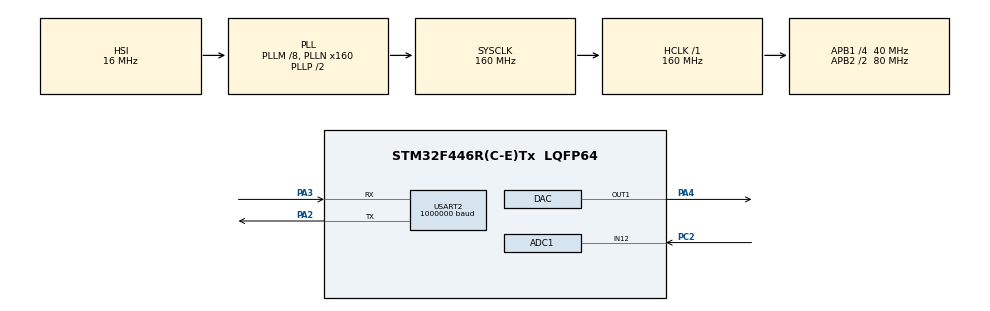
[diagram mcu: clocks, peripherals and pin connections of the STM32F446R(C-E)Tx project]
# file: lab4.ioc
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ADC1.Channel-0\#ChannelRegularConversion=ADC_CHANNEL_12
ADC1.NbrOfConversionFlag=1
ADC1.Rank-0\#ChannelRegularConversion=1
ADC1.SamplingTime-0\#ChannelRegularConversion=ADC_SAMPLETIME_3CYCLES
ADC1.master=1
Dma.ADC1.0.Direction=DMA_PERIPH_TO_MEMORY
Dma.ADC1.0.FIFOMode=DMA_FIFOMODE_DISABLE
Dma.ADC1.0.Instance=DMA2_Stream0
Dma.ADC1.0.MemDataAlignment=DMA_MDATAALIGN_HALFWORD
Dma.ADC1.0.MemInc=DMA_MINC_ENABLE
Dma.ADC1.0.Mode=DMA_NORMAL
Dma.ADC1.0.PeriphDataAlignment=DMA_PDATAALIGN_HALFWORD
Dma.ADC1.0.PeriphInc=DMA_PINC_DISABLE
Dma.ADC1.0.Priority=DMA_PRIORITY_LOW
Dma.Request0=ADC1
Mcu.Family=STM32F4
Mcu.Name=STM32F446R(C-E)Tx
Mcu.Package=LQFP64
NVIC.DMA2_Stream0_IRQn=true\:0\:0\:false\:false\:true\:false\:true\:true
NVIC.PriorityGroup=NVIC_PRIORITYGROUP_4
NVIC.TIM6_DAC_IRQn=true\:0\:0\:false\:false\:true\:true\:true\:true
NVIC.USART2_IRQn=true\:0\:0\:false\:false\:true\:true\:true\:true
PA2.Mode=Asynchronous
PA2.Signal=USART2_TX
PA3.Mode=Asynchronous
PA3.Signal=USART2_RX
PA4.Signal=COMP_DAC1_group
PC2.Signal=ADCx_IN12
PH0-OSC_IN.Mode=HSE-External-Oscillator
PH0-OSC_IN.Signal=RCC_OSC_IN
PH1-OSC_OUT.Mode=HSE-External-Oscillator
PH1-OSC_OUT.Signal=RCC_OSC_OUT
ProjectManager.HeapSize=0x200
ProjectManager.StackSize=0x400
ProjectManager.TargetToolchain=STM32CubeIDE
RCC.AHBFreq_Value=160000000
RCC.APB1CLKDivider=RCC_HCLK_DIV4
RCC.APB1Freq_Value=40000000
RCC.APB1TimFreq_Value=80000000
RCC.APB2CLKDivider=RCC_HCLK_DIV2
RCC.APB2Freq_Value=80000000
RCC.APB2TimFreq_Value=160000000
RCC.CortexFreq_Value=160000000
RCC.HCLKFreq_Value=160000000
RCC.HSE_VALUE=7200000
RCC.PLLM=8
RCC.PLLN=160
RCC.SYSCLKFreq_VALUE=160000000
RCC.SYSCLKSource=RCC_SYSCLKSOURCE_PLLCLK
RCC.USBFreq_Value=160000000
RCC.VCOOutputFreq_Value=320000000
SH.ADCx_IN12.0=ADC1_IN12,IN12
SH.COMP_DAC1_group.0=DAC_OUT1,DAC_OUT1
TIM6.Period=399
TIM6.Prescaler=199
USART2.BaudRate=1000000
USART2.VirtualMode=VM_ASYNC
VP_TIM6_VS_ClockSourceINT.Mode=Enable_Timer
board=custom

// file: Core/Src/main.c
/* USER CODE BEGIN Header */
/* USER CODE END Header */
#include "main.h"

/* USER CODE BEGIN Includes */
#include <math.h> // Подключение math.h для использования sinf
/* USER CODE END Includes */

/* USER CODE BEGIN PD */
#define ADC_BUFFER_SIZE 1
#define DAC_RESOLUTION 4096
#define V_REF 3300 // mV
#define SIN_FREQ 20 // Частота синусоиды в Гц
#define SIN_AMPLITUDE 1000 // Амплитуда в мВ
#define SIN_OFFSET 1650 // Смещение в мВ
/* USER CODE END PD */

ADC_HandleTypeDef hadc1;
DMA_HandleTypeDef hdma_adc1;
DAC_HandleTypeDef hdac;
TIM_HandleTypeDef htim6;
UART_HandleTypeDef huart2;

/* USER CODE BEGIN PV */
volatile uint32_t t = 0; // Счетчик времени в миллисекундах
uint32_t adc_buffer[ADC_BUFFER_SIZE];
/* USER CODE END PV */

/* USER CODE BEGIN 0 */
void generate_sine_wave() {
    // Генерация синусоиды с заданной амплитудой и частотой
    float angle = 2.0f * 3.14159f * SIN_FREQ * t / 1000.0f; // Частота 20 Гц, время t в миллисекундах
    float sine_value_mv = SIN_OFFSET + SIN_AMPLITUDE * sinf(angle); // Значение синусоиды в мВ

    // Преобразование в значение для DAC (12-битное разрешение)
    uint32_t dac_value = (uint32_t)((sine_value_mv * DAC_RESOLUTION) / V_REF);

    // Установка значения на DAC
    HAL_DAC_SetValue(&hdac, DAC_CHANNEL_1, DAC_ALIGN_12B_R, dac_value);
}

/* Обработка прерывания таймера */
void HAL_TIM_PeriodElapsedCallback(TIM_HandleTypeDef *htim) {
    if (htim->Instance == TIM6) {
        t++; // Увеличиваем счетчик времени в миллисекундах
        generate_sine_wave();

        // Старт ADC и получение данных через DMA
        HAL_ADC_Start_DMA(&hadc1, adc_buffer, ADC_BUFFER_SIZE);

        // Передача данных
        transmit_data();
    }
}

void transmit_data() {
    // Преобразование значения ADC в мВ
    uint16_t adc_value_mv = (adc_buffer[0] * V_REF) / DAC_RESOLUTION;

    // Формирование пакета данных для передачи
    uint8_t data[3];
    data[0] = (adc_value_mv >> 8) & 0xFF; // старший байт
    data[1] = adc_value_mv & 0xFF;        // младший байт
    data[2] = 0xBB; // Конец пакета

    // Передача данных по UART
    HAL_UART_Transmit(&huart2, data, 3, HAL_MAX_DELAY);
}
/* USER CODE END 0 */

int main(void) {
    HAL_Init();
    SystemClock_Config();
    MX_GPIO_Init();
    MX_DMA_Init();
    MX_ADC1_Init();
    MX_DAC_Init();
    MX_TIM6_Init();
    MX_USART2_UART_Init();

    /* Запуск DAC и таймера с прерываниями */
    HAL_DAC_Start(&hdac, DAC_CHANNEL_1);
    HAL_TIM_Base_Start_IT(&htim6);

    /* Бесконечный цикл */
    while (1) {
    }
}

void SystemClock_Config(void)
{
  RCC_OscInitTypeDef RCC_OscInitStruct = {0};
  RCC_ClkInitTypeDef RCC_ClkInitStruct = {0};

  /** Configure the main internal regulator output voltage
  */
  __HAL_RCC_PWR_CLK_ENABLE();
  __HAL_PWR_VOLTAGESCALING_CONFIG(PWR_REGULATOR_VOLTAGE_SCALE1);

  /** Initializes the RCC Oscillators according to the specified parameters
  * in the RCC_OscInitTypeDef structure.
  */
  RCC_OscInitStruct.OscillatorType = RCC_OSCILLATORTYPE_HSI;
  RCC_OscInitStruct.HSIState = RCC_HSI_ON;
  RCC_OscInitStruct.HSICalibrationValue = RCC_HSICALIBRATION_DEFAULT;
  RCC_OscInitStruct.PLL.PLLState = RCC_PLL_ON;
  RCC_OscInitStruct.PLL.PLLSource = RCC_PLLSOURCE_HSI;
  RCC_OscInitStruct.PLL.PLLM = 8;
  RCC_OscInitStruct.PLL.PLLN = 160;
  RCC_OscInitStruct.PLL.PLLP = RCC_PLLP_DIV2;
  RCC_OscInitStruct.PLL.PLLQ = 2;
  RCC_OscInitStruct.PLL.PLLR = 2;
  if (HAL_RCC_OscConfig(&RCC_OscInitStruct) != HAL_OK)
  {
    Error_Handler();
  }

  /** Initializes the CPU, AHB and APB buses clocks
  */
  RCC_ClkInitStruct.ClockType = RCC_CLOCKTYPE_HCLK|RCC_CLOCKTYPE_SYSCLK
                              |RCC_CLOCKTYPE_PCLK1|RCC_CLOCKTYPE_PCLK2;
  RCC_ClkInitStruct.SYSCLKSource = RCC_SYSCLKSOURCE_PLLCLK;
  RCC_ClkInitStruct.AHBCLKDivider = RCC_SYSCLK_DIV1;
  RCC_ClkInitStruct.APB1CLKDivider = RCC_HCLK_DIV4;
  RCC_ClkInitStruct.APB2CLKDivider = RCC_HCLK_DIV2;

  if (HAL_RCC_ClockConfig(&RCC_ClkInitStruct, FLASH_LATENCY_5) != HAL_OK)
  {
    Error_Handler();
  }
}

static void MX_ADC1_Init(void)
{

  ADC_ChannelConfTypeDef sConfig = {0};

  /** Configure the global features of the ADC (Clock, Resolution, Data Alignment and number of conversion)
  */
  hadc1.Instance = ADC1;
  hadc1.Init.ClockPrescaler = ADC_CLOCK_SYNC_PCLK_DIV4;
  hadc1.Init.Resolution = ADC_RESOLUTION_12B;
  hadc1.Init.ScanConvMode = DISABLE;
  hadc1.Init.ContinuousConvMode = DISABLE;
  hadc1.Init.DiscontinuousConvMode = DISABLE;
  hadc1.Init.ExternalTrigConvEdge = ADC_EXTERNALTRIGCONVEDGE_NONE;
  hadc1.Init.ExternalTrigConv = ADC_SOFTWARE_START;
  hadc1.Init.DataAlign = ADC_DATAALIGN_RIGHT;
  hadc1.Init.NbrOfConversion = 1;
  hadc1.Init.DMAContinuousRequests = DISABLE;
  hadc1.Init.EOCSelection = ADC_EOC_SINGLE_CONV;
  if (HAL_ADC_Init(&hadc1) != HAL_OK)
  {
    Error_Handler();
  }

  /** Configure for the selected ADC regular channel its corresponding rank in the sequencer and its sample time.
  */
  sConfig.Channel = ADC_CHANNEL_12;
  sConfig.Rank = 1;
  sConfig.SamplingTime = ADC_SAMPLETIME_3CYCLES;
  if (HAL_ADC_ConfigChannel(&hadc1, &sConfig) != HAL_OK)
  {
    Error_Handler();
  }

}

static void MX_DAC_Init(void)
{

  DAC_ChannelConfTypeDef sConfig = {0};

  /** DAC Initialization
  */
  hdac.Instance = DAC;
  if (HAL_DAC_Init(&hdac) != HAL_OK)
  {
    Error_Handler();
  }

  /** DAC channel OUT1 config
  */
  sConfig.DAC_Trigger = DAC_TRIGGER_NONE;
  sConfig.DAC_OutputBuffer = DAC_OUTPUTBUFFER_ENABLE;
  if (HAL_DAC_ConfigChannel(&hdac, &sConfig, DAC_CHANNEL_1) != HAL_OK)
  {
    Error_Handler();
  }

}

static void MX_TIM6_Init(void)
{

  TIM_MasterConfigTypeDef sMasterConfig = {0};

  htim6.Instance = TIM6;
  htim6.Init.Prescaler = 199;
  htim6.Init.CounterMode = TIM_COUNTERMODE_UP;
  htim6.Init.Period = 399;
  htim6.Init.AutoReloadPreload = TIM_AUTORELOAD_PRELOAD_DISABLE;
  if (HAL_TIM_Base_Init(&htim6) != HAL_OK)
  {
    Error_Handler();
  }
  sMasterConfig.MasterOutputTrigger = TIM_TRGO_RESET;
  sMasterConfig.MasterSlaveMode = TIM_MASTERSLAVEMODE_DISABLE;
  if (HAL_TIMEx_MasterConfigSynchronization(&htim6, &sMasterConfig) != HAL_OK)
  {
    Error_Handler();
  }

}

static void MX_USART2_UART_Init(void)
{

  huart2.Instance = USART2;
  huart2.Init.BaudRate = 1000000;
  huart2.Init.WordLength = UART_WORDLENGTH_8B;
  huart2.Init.StopBits = UART_STOPBITS_1;
  huart2.Init.Parity = UART_PARITY_NONE;
  huart2.Init.Mode = UART_MODE_TX_RX;
  huart2.Init.HwFlowCtl = UART_HWCONTROL_NONE;
  huart2.Init.OverSampling = UART_OVERSAMPLING_16;
  if (HAL_UART_Init(&huart2) != HAL_OK)
  {
    Error_Handler();
  }

}

static void MX_DMA_Init(void)
{

  /* DMA controller clock enable */
  __HAL_RCC_DMA2_CLK_ENABLE();

  /* DMA interrupt init */
  /* DMA2_Stream0_IRQn interrupt configuration */
  HAL_NVIC_SetPriority(DMA2_Stream0_IRQn, 0, 0);
  HAL_NVIC_EnableIRQ(DMA2_Stream0_IRQn);

}

static void MX_GPIO_Init(void)
{

  /* GPIO Ports Clock Enable */
  __HAL_RCC_GPIOH_CLK_ENABLE();
  __HAL_RCC_GPIOC_CLK_ENABLE();
  __HAL_RCC_GPIOA_CLK_ENABLE();

}

void Error_Handler(void)
{
  __disable_irq();
  while (1)
  {
  }
}
